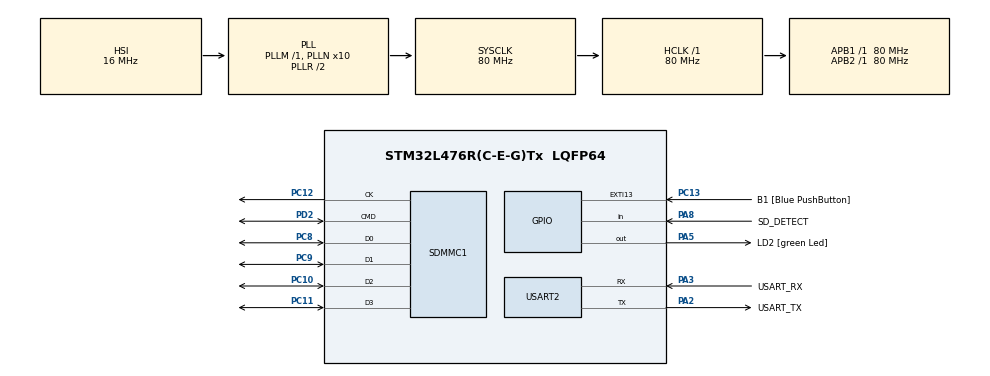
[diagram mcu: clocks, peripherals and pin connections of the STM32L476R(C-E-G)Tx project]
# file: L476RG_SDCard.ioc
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FATFS.BSP.number=1
FATFS0.BSP.STBoard=false
FATFS0.BSP.api=Unknown
FATFS0.BSP.i2caddr=0
FATFS0.BSP.instance=PA8
FATFS0.BSP.ip=GPIO
FATFS0.BSP.mode=Input
FATFS0.BSP.name=Detect_SDIO
FATFS0.BSP.solution=PA8
Mcu.Family=STM32L4
Mcu.Name=STM32L476R(C-E-G)Tx
Mcu.Package=LQFP64
NVIC.PriorityGroup=NVIC_PRIORITYGROUP_4
PA13\ (JTMS-SWDIO).GPIO_Label=TMS
PA13\ (JTMS-SWDIO).Mode=Serial_Wire
PA13\ (JTMS-SWDIO).Signal=SYS_JTMS-SWDIO
PA14\ (JTCK-SWCLK).GPIO_Label=TCK
PA14\ (JTCK-SWCLK).Mode=Serial_Wire
PA14\ (JTCK-SWCLK).Signal=SYS_JTCK-SWCLK
PA2.GPIO_Label=USART_TX
PA2.GPIO_Mode=GPIO_MODE_AF_PP
PA2.GPIO_PuPd=GPIO_NOPULL
PA2.GPIO_Speed=GPIO_SPEED_FREQ_VERY_HIGH
PA2.Mode=Asynchronous
PA2.Signal=USART2_TX
PA3.GPIO_Label=USART_RX
PA3.GPIO_Mode=GPIO_MODE_AF_PP
PA3.GPIO_PuPd=GPIO_NOPULL
PA3.GPIO_Speed=GPIO_SPEED_FREQ_VERY_HIGH
PA3.Mode=Asynchronous
PA3.Signal=USART2_RX
PA5.GPIO_Label=LD2 [green Led]
PA5.GPIO_ModeDefaultOutputPP=GPIO_MODE_OUTPUT_PP
PA5.GPIO_PuPd=GPIO_NOPULL
PA5.GPIO_Speed=GPIO_SPEED_FREQ_LOW
PA5.Signal=GPIO_Output
PA8.GPIO_Label=SD_DETECT
PA8.GPIO_PuPd=GPIO_NOPULL
PA8.Signal=GPIO_Input
PB3\ (JTDO-TRACESWO).GPIO_Label=SWO
PB3\ (JTDO-TRACESWO).Signal=SYS_JTDO-SWO
PC10.Mode=SD_4_bits_Wide_bus
PC10.Signal=SDMMC1_D2
PC11.Mode=SD_4_bits_Wide_bus
PC11.Signal=SDMMC1_D3
PC12.Mode=SD_4_bits_Wide_bus
PC12.Signal=SDMMC1_CK
PC13.GPIO_Label=B1 [Blue PushButton]
PC13.GPIO_ModeDefaultEXTI=GPIO_MODE_IT_FALLING
PC13.GPIO_PuPd=GPIO_NOPULL
PC13.Signal=GPXTI13
PC14-OSC32_IN\ (PC14).Mode=LSE-External-Oscillator
PC14-OSC32_IN\ (PC14).Signal=RCC_OSC32_IN
PC15-OSC32_OUT\ (PC15).Mode=LSE-External-Oscillator
PC15-OSC32_OUT\ (PC15).Signal=RCC_OSC32_OUT
PC8.Mode=SD_4_bits_Wide_bus
PC8.Signal=SDMMC1_D0
PC9.Mode=SD_4_bits_Wide_bus
PC9.Signal=SDMMC1_D1
PD2.Mode=SD_4_bits_Wide_bus
PD2.Signal=SDMMC1_CMD
PH0-OSC_IN\ (PH0).Signal=RCC_OSC_IN
PH1-OSC_OUT\ (PH1).Signal=RCC_OSC_OUT
ProjectManager.HeapSize=0x200
ProjectManager.StackSize=0x400
ProjectManager.TargetToolchain=STM32CubeIDE
RCC.ADCFreq_Value=64000000
RCC.AHBFreq_Value=80000000
RCC.APB1Freq_Value=80000000
RCC.APB1TimFreq_Value=80000000
RCC.APB2Freq_Value=80000000
RCC.APB2TimFreq_Value=80000000
RCC.CortexFreq_Value=80000000
RCC.HCLKFreq_Value=80000000
RCC.HSE_VALUE=8000000
RCC.HSI_VALUE=16000000
RCC.MSI_VALUE=4000000
RCC.PLLN=10
RCC.PLLSAI1Q=RCC_PLLQ_DIV4
RCC.PLLSourceVirtual=RCC_PLLSOURCE_HSI
RCC.PREFETCH_ENABLE=1
RCC.SYSCLKFreq_VALUE=80000000
RCC.SYSCLKSource=RCC_SYSCLKSOURCE_PLLCLK
RCC.USBFreq_Value=32000000
RCC.VCOOutputFreq_Value=160000000
SDMMC1.ClockDiv=4
USART2.VirtualMode-Asynchronous=VM_ASYNC
VP_FATFS_VS_SDIO.Mode=SDIO
board=NUCLEO-L476RG

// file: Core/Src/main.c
/* USER CODE BEGIN Header */
/**
  ******************************************************************************
  * @file           : main.c
  * @brief          : Main program body
  ******************************************************************************
  * @attention
  *
  * <h2><center>&copy; Copyright (c) 2020 STMicroelectronics.
  * All rights reserved.</center></h2>
  *
  * This software component is licensed by ST under BSD 3-Clause license,
  * the "License"; You may not use this file except in compliance with the
  * License. You may obtain a copy of the License at:
  *                        opensource.org/licenses/BSD-3-Clause
  *
  ******************************************************************************
  */
/* USER CODE END Header */
#include "main.h"
#include "fatfs.h"

/* USER CODE BEGIN Includes */
#include <string.h>

/* USER CODE END Includes */

SD_HandleTypeDef hsd1;

UART_HandleTypeDef huart2;

void SystemClock_Config(void);
static void MX_GPIO_Init(void);
static void MX_USART2_UART_Init(void);
static void MX_SDMMC1_SD_Init(void);

int main(void)
{

  /* MCU Configuration--------------------------------------------------------*/

  /* Reset of all peripherals, Initializes the Flash interface and the Systick. */
  HAL_Init();

  /* Configure the system clock */
  SystemClock_Config();

  /* Initialize all configured peripherals */
  MX_GPIO_Init();
  MX_USART2_UART_Init();
  MX_SDMMC1_SD_Init();
  MX_FATFS_Init();
  /* USER CODE BEGIN 2 */

  FATFS FatFs;
  FIL fil;
  FRESULT res;
  UINT count = 0;

  res = f_mount(&FatFs, "", 0);
  if (res != FR_OK)
	  return EXIT_FAILURE;

#if 1
  // READ TEST
  char line[256];

  res = f_open(&fil, "test.txt", FA_READ);
  if (res != FR_OK)
	  return EXIT_FAILURE;

  f_read(&fil, line, sizeof(line), &count);
  HAL_UART_Transmit(&huart2, (uint8_t*)line, count, 100);

  res = f_close(&fil);
  if (res != FR_OK)
	  return EXIT_FAILURE;
#else
  // WRITE TEST
  res = f_open(&fil, "w_test.txt", FA_CREATE_ALWAYS | FA_WRITE);
  if (res != FR_OK)
	  return EXIT_FAILURE;

  f_write(&fil, "Nucleo : SD card write test\r\n", 29, &count);

  res = f_close(&fil);
  if (res != FR_OK)
	  return EXIT_FAILURE;

#endif

  /* USER CODE END 2 */

  /* Infinite loop */
  while (1)
  {

  }
}

void SystemClock_Config(void)
{
  RCC_OscInitTypeDef RCC_OscInitStruct = {0};
  RCC_ClkInitTypeDef RCC_ClkInitStruct = {0};
  RCC_PeriphCLKInitTypeDef PeriphClkInit = {0};

  /** Initializes the RCC Oscillators according to the specified parameters
  * in the RCC_OscInitTypeDef structure.
  */
  RCC_OscInitStruct.OscillatorType = RCC_OSCILLATORTYPE_HSI;
  RCC_OscInitStruct.HSIState = RCC_HSI_ON;
  RCC_OscInitStruct.HSICalibrationValue = RCC_HSICALIBRATION_DEFAULT;
  RCC_OscInitStruct.PLL.PLLState = RCC_PLL_ON;
  RCC_OscInitStruct.PLL.PLLSource = RCC_PLLSOURCE_HSI;
  RCC_OscInitStruct.PLL.PLLM = 1;
  RCC_OscInitStruct.PLL.PLLN = 10;
  RCC_OscInitStruct.PLL.PLLP = RCC_PLLP_DIV7;
  RCC_OscInitStruct.PLL.PLLQ = RCC_PLLQ_DIV2;
  RCC_OscInitStruct.PLL.PLLR = RCC_PLLR_DIV2;
  if (HAL_RCC_OscConfig(&RCC_OscInitStruct) != HAL_OK)
  {
    Error_Handler();
  }
  /** Initializes the CPU, AHB and APB buses clocks
  */
  RCC_ClkInitStruct.ClockType = RCC_CLOCKTYPE_HCLK|RCC_CLOCKTYPE_SYSCLK
                              |RCC_CLOCKTYPE_PCLK1|RCC_CLOCKTYPE_PCLK2;
  RCC_ClkInitStruct.SYSCLKSource = RCC_SYSCLKSOURCE_PLLCLK;
  RCC_ClkInitStruct.AHBCLKDivider = RCC_SYSCLK_DIV1;
  RCC_ClkInitStruct.APB1CLKDivider = RCC_HCLK_DIV1;
  RCC_ClkInitStruct.APB2CLKDivider = RCC_HCLK_DIV1;

  if (HAL_RCC_ClockConfig(&RCC_ClkInitStruct, FLASH_LATENCY_4) != HAL_OK)
  {
    Error_Handler();
  }
  PeriphClkInit.PeriphClockSelection = RCC_PERIPHCLK_USART2|RCC_PERIPHCLK_SDMMC1;
  PeriphClkInit.Usart2ClockSelection = RCC_USART2CLKSOURCE_PCLK1;
  PeriphClkInit.Sdmmc1ClockSelection = RCC_SDMMC1CLKSOURCE_PLLSAI1;
  PeriphClkInit.PLLSAI1.PLLSAI1Source = RCC_PLLSOURCE_HSI;
  PeriphClkInit.PLLSAI1.PLLSAI1M = 1;
  PeriphClkInit.PLLSAI1.PLLSAI1N = 8;
  PeriphClkInit.PLLSAI1.PLLSAI1P = RCC_PLLP_DIV7;
  PeriphClkInit.PLLSAI1.PLLSAI1Q = RCC_PLLQ_DIV4;
  PeriphClkInit.PLLSAI1.PLLSAI1R = RCC_PLLR_DIV2;
  PeriphClkInit.PLLSAI1.PLLSAI1ClockOut = RCC_PLLSAI1_48M2CLK;
  if (HAL_RCCEx_PeriphCLKConfig(&PeriphClkInit) != HAL_OK)
  {
    Error_Handler();
  }
  /** Configure the main internal regulator output voltage
  */
  if (HAL_PWREx_ControlVoltageScaling(PWR_REGULATOR_VOLTAGE_SCALE1) != HAL_OK)
  {
    Error_Handler();
  }
}

static void MX_SDMMC1_SD_Init(void)
{

  hsd1.Instance = SDMMC1;
  hsd1.Init.ClockEdge = SDMMC_CLOCK_EDGE_RISING;
  hsd1.Init.ClockBypass = SDMMC_CLOCK_BYPASS_DISABLE;
  hsd1.Init.ClockPowerSave = SDMMC_CLOCK_POWER_SAVE_DISABLE;
  hsd1.Init.BusWide = SDMMC_BUS_WIDE_1B;
  hsd1.Init.HardwareFlowControl = SDMMC_HARDWARE_FLOW_CONTROL_DISABLE;
  hsd1.Init.ClockDiv = 4;

}

static void MX_USART2_UART_Init(void)
{

  huart2.Instance = USART2;
  huart2.Init.BaudRate = 115200;
  huart2.Init.WordLength = UART_WORDLENGTH_8B;
  huart2.Init.StopBits = UART_STOPBITS_1;
  huart2.Init.Parity = UART_PARITY_NONE;
  huart2.Init.Mode = UART_MODE_TX_RX;
  huart2.Init.HwFlowCtl = UART_HWCONTROL_NONE;
  huart2.Init.OverSampling = UART_OVERSAMPLING_16;
  huart2.Init.OneBitSampling = UART_ONE_BIT_SAMPLE_DISABLE;
  huart2.AdvancedInit.AdvFeatureInit = UART_ADVFEATURE_NO_INIT;
  if (HAL_UART_Init(&huart2) != HAL_OK)
  {
    Error_Handler();
  }

}

static void MX_GPIO_Init(void)
{
  GPIO_InitTypeDef GPIO_InitStruct = {0};

  /* GPIO Ports Clock Enable */
  __HAL_RCC_GPIOC_CLK_ENABLE();
  __HAL_RCC_GPIOH_CLK_ENABLE();
  __HAL_RCC_GPIOA_CLK_ENABLE();
  __HAL_RCC_GPIOD_CLK_ENABLE();
  __HAL_RCC_GPIOB_CLK_ENABLE();

  /*Configure GPIO pin Output Level */
  HAL_GPIO_WritePin(LD2_GPIO_Port, LD2_Pin, GPIO_PIN_RESET);

  /*Configure GPIO pin : B1_Pin */
  GPIO_InitStruct.Pin = B1_Pin;
  GPIO_InitStruct.Mode = GPIO_MODE_IT_FALLING;
  GPIO_InitStruct.Pull = GPIO_NOPULL;
  HAL_GPIO_Init(B1_GPIO_Port, &GPIO_InitStruct);

  /*Configure GPIO pin : LD2_Pin */
  GPIO_InitStruct.Pin = LD2_Pin;
  GPIO_InitStruct.Mode = GPIO_MODE_OUTPUT_PP;
  GPIO_InitStruct.Pull = GPIO_NOPULL;
  GPIO_InitStruct.Speed = GPIO_SPEED_FREQ_LOW;
  HAL_GPIO_Init(LD2_GPIO_Port, &GPIO_InitStruct);

  /*Configure GPIO pin : SD_DETECT_Pin */
  GPIO_InitStruct.Pin = SD_DETECT_Pin;
  GPIO_InitStruct.Mode = GPIO_MODE_INPUT;
  GPIO_InitStruct.Pull = GPIO_NOPULL;
  HAL_GPIO_Init(SD_DETECT_GPIO_Port, &GPIO_InitStruct);

}

void Error_Handler(void)
{
}

/************************ (C) COPYRIGHT STMicroelectronics *****END OF FILE****/
